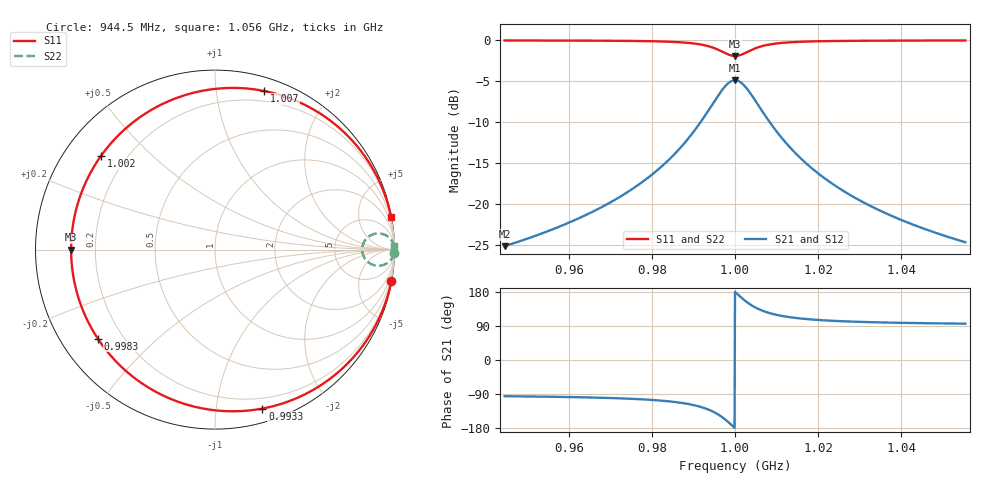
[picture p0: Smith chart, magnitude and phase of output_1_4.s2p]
! File generated for n1 = 1, n2 = 4
! b1 = 100.000000
! b2 = 10.000000
! Q0 = 10000.000000
! f0 = 1000000000.000000
! n = 1001
! rel_span = 10.000000
# Hz S RI R 50
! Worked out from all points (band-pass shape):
!   1001 points, 944.5 MHz to 1.056 GHz, reference 50 ohm
!   highest |S21| = -4.89 dB at 1 GHz (marker M1); lowest = -25.2 dB at 944.5 MHz (marker M2)
!   |S21| within 3 dB of the highest: 994.5 MHz to 1.006 GHz (11.07 MHz wide, 1.11 % of centre)
!   lowest |S11| = -1.9 dB at 1 GHz (marker M3), VSWR 9.09, Z = 5.5 + j0 ohm
!   |S11| at or under -10 dB: nowhere
!   |S22| runs from -1.7 to 0.0 dB; largest |S21 - S12| = 0
!   S11 on the Smith chart (normalised r, x): 944.5 MHz: 0, -11; 993.3 MHz: 0.11, -1.34; 998.3 MHz: 0.11, -0.33; 1.002 GHz: 0.11, +0.35; 1.007 GHz: 0.11, +1.35; 1.056 GHz: 0, +11
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9.445e8  0.9832 -0.1734  -0.00533 -0.0548  -0.00533 -0.0548  0.9983 -0.0173
9.63037e8  0.9617 -0.2598  -0.0121 -0.0822  -0.0121 -0.0822  0.9962 -0.026
9.73582e8  0.9258 -0.3581  -0.0235 -0.1132  -0.0235 -0.1132  0.9926 -0.0358
9.81574e8  0.8527 -0.4937  -0.0466 -0.1561  -0.0466 -0.1561  0.9853 -0.0494
9.88678e8  0.6541 -0.7096  -0.1094 -0.2244  -0.1094 -0.2244  0.9654 -0.071
9.91231e8  0.4879 -0.8127  -0.1619 -0.257  -0.1619 -0.257  0.9488 -0.0813
9.9334e8  0.2645 -0.8856  -0.2326 -0.28  -0.2326 -0.28  0.9264 -0.0886
9.96115e8  -0.2077 -0.847  -0.3819 -0.2679  -0.3819 -0.2679  0.8792 -0.0847
9.97225e8  -0.4406 -0.7213  -0.4556 -0.2281  -0.4556 -0.2281  0.8559 -0.0721
9.98335e8  -0.6528 -0.4963  -0.5227 -0.1569  -0.5227 -0.1569  0.8347 -0.0496
1e9  -0.8018 0  -0.5698 0  -0.5698 0  0.8198 0
1.000888e9  -0.7569 0.281  -0.5556 0.0889  -0.5556 0.0889  0.8243 0.0281
1.001776e9  -0.6347 0.5226  -0.5169 0.1653  -0.5169 0.1653  0.8365 0.0523
1.002775e9  -0.4422 0.7201  -0.4561 0.2277  -0.4561 0.2277  0.8558 0.072
1.003885e9  -0.2108 0.8459  -0.3829 0.2675  -0.3829 0.2675  0.8789 0.0846
1.005106e9  0.0219 0.8976  -0.3093 0.2838  -0.3093 0.2838  0.9022 0.0898
1.006771e9  0.273 0.884  -0.2299 0.2795  -0.2299 0.2795  0.9273 0.0884
1.00888e9  0.4907 0.8114  -0.1611 0.2566  -0.1611 0.2566  0.9491 0.0811
1.011433e9  0.6532 0.7103  -0.1097 0.2246  -0.1097 0.2246  0.9653 0.071
1.018537e9  0.8493 0.4989  -0.0477 0.1578  -0.0477 0.1578  0.9849 0.0499
1.037074e9  0.9591 0.2684  -0.0129 0.0849  -0.0129 0.0849  0.9959 0.0268
1.0555e9  0.9812 0.1831  -0.00595 0.0579  -0.00595 0.0579  0.9981 0.0183
